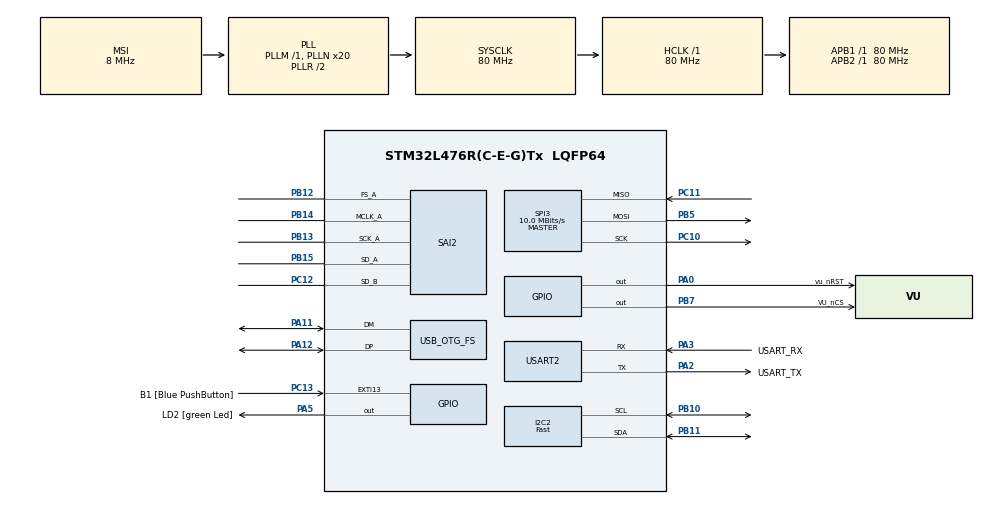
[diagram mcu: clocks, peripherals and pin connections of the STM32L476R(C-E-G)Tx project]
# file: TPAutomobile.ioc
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Dma.Request0=SAI2_A
Dma.Request1=SAI2_B
Dma.SAI2_A.0.Direction=DMA_MEMORY_TO_PERIPH
Dma.SAI2_A.0.Instance=DMA1_Channel6
Dma.SAI2_A.0.MemDataAlignment=DMA_MDATAALIGN_HALFWORD
Dma.SAI2_A.0.MemInc=DMA_MINC_ENABLE
Dma.SAI2_A.0.Mode=DMA_CIRCULAR
Dma.SAI2_A.0.PeriphDataAlignment=DMA_PDATAALIGN_HALFWORD
Dma.SAI2_A.0.PeriphInc=DMA_PINC_DISABLE
Dma.SAI2_A.0.Priority=DMA_PRIORITY_LOW
Dma.SAI2_B.1.Direction=DMA_PERIPH_TO_MEMORY
Dma.SAI2_B.1.Instance=DMA1_Channel7
Dma.SAI2_B.1.MemDataAlignment=DMA_MDATAALIGN_WORD
Dma.SAI2_B.1.MemInc=DMA_MINC_ENABLE
Dma.SAI2_B.1.Mode=DMA_CIRCULAR
Dma.SAI2_B.1.PeriphDataAlignment=DMA_PDATAALIGN_WORD
Dma.SAI2_B.1.PeriphInc=DMA_PINC_DISABLE
Dma.SAI2_B.1.Priority=DMA_PRIORITY_LOW
FREERTOS.Tasks01=defaultTask,0,128,StartDefaultTask,Default,NULL,Dynamic,NULL,NULL
FREERTOS.configTOTAL_HEAP_SIZE=20000
FREERTOS.configUSE_NEWLIB_REENTRANT=1
I2C2.I2C_Speed_Mode=I2C_Fast
I2C2.Timing=0x00F12981
Mcu.Family=STM32L4
Mcu.Name=STM32L476R(C-E-G)Tx
Mcu.Package=LQFP64
NVIC.DMA1_Channel6_IRQn=true\:5\:0\:false\:false\:true\:true\:false\:true\:true
NVIC.DMA1_Channel7_IRQn=true\:5\:0\:false\:false\:true\:true\:false\:true\:true
NVIC.PriorityGroup=NVIC_PRIORITYGROUP_4
NVIC.SAI2_IRQn=true\:5\:0\:false\:false\:true\:true\:true\:true\:true
NVIC.TIM6_DAC_IRQn=true\:15\:0\:false\:false\:true\:false\:false\:true\:true
NVIC.TimeBase=TIM6_DAC_IRQn
NVIC.TimeBaseIP=TIM6
PA0.GPIO_Label=vu_nRST
PA0.PinState=GPIO_PIN_SET
PA0.Signal=GPIO_Output
PA11.Mode=Device_Only
PA11.Signal=USB_OTG_FS_DM
PA12.Mode=Device_Only
PA12.Signal=USB_OTG_FS_DP
PA13\ (JTMS-SWDIO).GPIO_Label=TMS
PA13\ (JTMS-SWDIO).Mode=Trace_Asynchronous_SW
PA13\ (JTMS-SWDIO).Signal=SYS_JTMS-SWDIO
PA14\ (JTCK-SWCLK).GPIO_Label=TCK
PA14\ (JTCK-SWCLK).Mode=Trace_Asynchronous_SW
PA14\ (JTCK-SWCLK).Signal=SYS_JTCK-SWCLK
PA2.GPIO_Label=USART_TX
PA2.GPIO_Mode=GPIO_MODE_AF_PP
PA2.GPIO_PuPd=GPIO_NOPULL
PA2.GPIO_Speed=GPIO_SPEED_FREQ_VERY_HIGH
PA2.Mode=Asynchronous
PA2.Signal=USART2_TX
PA3.GPIO_Label=USART_RX
PA3.GPIO_Mode=GPIO_MODE_AF_PP
PA3.GPIO_PuPd=GPIO_NOPULL
PA3.GPIO_Speed=GPIO_SPEED_FREQ_VERY_HIGH
PA3.Mode=Asynchronous
PA3.Signal=USART2_RX
PA5.GPIO_Label=LD2 [green Led]
PA5.GPIO_ModeDefaultOutputPP=GPIO_MODE_OUTPUT_PP
PA5.GPIO_PuPd=GPIO_NOPULL
PA5.GPIO_Speed=GPIO_SPEED_FREQ_LOW
PA5.Signal=GPIO_Output
PB10.Mode=I2C
PB10.Signal=I2C2_SCL
PB11.Mode=I2C
PB11.Signal=I2C2_SDA
PB12.Mode=SAI_A_MasterWithClock
PB12.Signal=SAI2_FS_A
PB13.Mode=SAI_A_MasterWithClock
PB13.Signal=SAI2_SCK_A
PB14.Mode=SAI_A_MasterWithClock
PB14.Signal=SAI2_MCLK_A
PB15.Mode=SAI_A_MasterWithClock
PB15.Signal=SAI2_SD_A
PB3\ (JTDO-TRACESWO).GPIO_Label=SWO
PB3\ (JTDO-TRACESWO).Mode=Trace_Asynchronous_SW
PB3\ (JTDO-TRACESWO).Signal=SYS_JTDO-SWO
PB5.Mode=Full_Duplex_Master
PB5.Signal=SPI3_MOSI
PB7.GPIO_Label=VU_nCS
PB7.PinState=GPIO_PIN_SET
PB7.Signal=GPIO_Output
PC10.Mode=Full_Duplex_Master
PC10.Signal=SPI3_SCK
PC11.Mode=Full_Duplex_Master
PC11.Signal=SPI3_MISO
PC12.Mode=SAI_B_SyncSlave
PC12.Signal=SAI2_SD_B
PC13.GPIO_Label=B1 [Blue PushButton]
PC13.GPIO_ModeDefaultEXTI=GPIO_MODE_IT_FALLING
PC13.GPIO_PuPd=GPIO_NOPULL
PC13.Signal=GPXTI13
PC14-OSC32_IN\ (PC14).Signal=RCC_OSC32_IN
PC15-OSC32_OUT\ (PC15).Signal=RCC_OSC32_OUT
PH0-OSC_IN\ (PH0).Signal=RCC_OSC_IN
PH1-OSC_OUT\ (PH1).Signal=RCC_OSC_OUT
ProjectManager.HeapSize=0x200
ProjectManager.StackSize=0x400
ProjectManager.TargetToolchain=STM32CubeIDE
RCC.ADCFreq_Value=48000000
RCC.AHBFreq_Value=80000000
RCC.APB1Freq_Value=80000000
RCC.APB1TimFreq_Value=80000000
RCC.APB2Freq_Value=80000000
RCC.APB2TimFreq_Value=80000000
RCC.CortexFreq_Value=80000000
RCC.HCLKFreq_Value=80000000
RCC.HSE_VALUE=8000000
RCC.HSI_VALUE=16000000
RCC.LSE_VALUE=32768
RCC.MSIClockRange=RCC_MSIRANGE_7
RCC.MSI_VALUE=8000000
RCC.PLLN=20
RCC.PLLQ=RCC_PLLQ_DIV4
RCC.PLLSAI1N=12
RCC.PLLSAI1P=RCC_PLLP_DIV17
RCC.PLLSAI2N=26
RCC.PLLSAI2P=RCC_PLLP_DIV17
RCC.PREFETCH_ENABLE=1
RCC.SAI2CLockSelection=RCC_SAI2CLKSOURCE_PLLSAI2
RCC.SYSCLKFreq_VALUE=80000000
RCC.SYSCLKSource=RCC_SYSCLKSOURCE_PLLCLK
RCC.USBFreq_Value=48000000
RCC.VCOOutputFreq_Value=160000000
SAI2.AudioFrequency-SAI_A_MasterWithClock=SAI_AUDIO_FREQUENCY_48K
SAI2.ErrorAudioFreq-SAI_A_MasterWithClock=-0.42 %
SAI2.InitProtocol-SAI_A_MasterWithClock=Enable
SAI2.InitProtocol-SAI_B_SyncSlave=Enable
SAI2.Instance-SAI_A_MasterWithClock=SAI$Index_Block_A
SAI2.Instance-SAI_B_SyncSlave=SAI$Index_Block_B
SAI2.MClockEnable-SAI_A_MasterWithClock=SAI_MASTERCLOCK_ENABLE
SAI2.RealAudioFreq-SAI_A_MasterWithClock=47.794 KHz
SAI2.SynchroExt=SAI_SYNCEXT_OUTBLOCKA_ENABLE
SAI2.VirtualMode-SAI_A_MasterWithClock=VM_MASTER
SAI2.VirtualMode-SAI_B_SyncSlave=VM_SLAVE
SAI2.VirtualProtocol-SAI_A_BASIC=VM_BASIC_PROTOCOL
SAI2.VirtualProtocol-SAI_B_BASIC=VM_BASIC_PROTOCOL
SPI3.BaudRatePrescaler=SPI_BAUDRATEPRESCALER_8
SPI3.CalculateBaudRate=10.0 MBits/s
SPI3.DataSize=SPI_DATASIZE_8BIT
SPI3.Direction=SPI_DIRECTION_2LINES
SPI3.Mode=SPI_MODE_MASTER
SPI3.VirtualType=VM_MASTER
USART2.VirtualMode-Asynchronous=VM_ASYNC
USB_OTG_FS.VirtualMode=Device_Only
VP_FREERTOS_VS_CMSIS_V1.Mode=CMSIS_V1
VP_SAI2_VP_$IpInstance_SAIA_SAI_BASIC.Mode=SAI_A_BASIC
VP_SAI2_VP_$IpInstance_SAIB_SAI_BASIC.Mode=SAI_B_BASIC
VP_SAI2_VP_$IpInstance_SYNCHRO_EXTERNAL.Mode=SynchroExternal
VP_SYS_VS_tim6.Mode=TIM6
board=NUCLEO-L476RG

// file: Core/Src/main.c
/* USER CODE BEGIN Header */
/**
 ******************************************************************************
 * @file           : main.c
 * @brief          : Main program body
 ******************************************************************************
 * @attention
 *
 * Copyright (c) 2025 STMicroelectronics.
 * All rights reserved.
 *
 * This software is licensed under terms that can be found in the LICENSE file
 * in the root directory of this software component.
 * If no LICENSE file comes with this software, it is provided AS-IS.
 *
 ******************************************************************************
 */
/* USER CODE END Header */
#include "main.h"
#include "cmsis_os.h"
#include "dma.h"
#include "i2c.h"
#include "sai.h"
#include "spi.h"
#include "usart.h"
#include "usb_otg.h"
#include "gpio.h"

/* USER CODE BEGIN Includes */
#include "stdio.h"
#include "stdlib.h"
#include <stdbool.h>
#include "../shell/user_function.h"
#include "sgtl5000.h"
#include "../MCP23S17_/mcp23s17.h"
#include "audio/audio.h"
#include "audio/RCFilter.h"

/* USER CODE END Includes */

/* USER CODE BEGIN PD */
/* MCP23S17 GPIO EXPANDER */
#define OPCODE 0x40
#define IODIRA_Reg 0x00
#define IODIRB_Reg 0x01
#define MODE_OUTPUT_MCP 0x00
#define GPIOA_VALUE 0x12
#define GPIOB_VALUE 0x13

/* USER CODE END PD */

/* USER CODE BEGIN PV */
h_shell_t h_shell;
mcp23s17_handle_t mcp;
h_sgtl5000_t h_sgtl5000;
h_RC_filter_t  h_RC_filter;
// FreeRTOS
SemaphoreHandle_t mutex;
SemaphoreHandle_t sai_tx_sem;
SemaphoreHandle_t sai_rx_sem;
/* USER CODE END PV */

void SystemClock_Config(void);
void PeriphCommonClock_Config(void);
void MX_FREERTOS_Init(void);

/* USER CODE BEGIN 0 */
int __io_putchar(int chr)
{
	HAL_UART_Transmit(&huart2, (uint8_t*)&chr, 1, HAL_MAX_DELAY);
	return chr;
}

/* ===== API =====*/
// BSP MCP23S17
void cs_low(void *d)   { HAL_GPIO_WritePin(VU_nCS_GPIO_Port, VU_nCS_Pin, RESET); }
void cs_high(void *d)  { HAL_GPIO_WritePin(VU_nCS_GPIO_Port, VU_nCS_Pin, SET); }
void delay_ms(uint32_t ms, void *d) { vTaskDelay(pdMS_TO_TICKS(ms)); }

void spi_send(const uint8_t *tx, uint8_t *rx, uint16_t len, void *d)
{
	HAL_SPI_Transmit(&hspi3, tx, len, 100);
}
void spi_recv(const uint8_t *tx, uint8_t *rx, uint16_t len, void *d)
{
	HAL_SPI_TransmitReceive(&hspi3, tx, rx, len, 100);
}

// BSP shell

uint8_t drv_uart_receive(char * pData, uint16_t size)
{
	HAL_UART_Receive(&huart2, (uint8_t*)pData, size, HAL_MAX_DELAY);
	return 0;
}

uint8_t drv_uart_transmit(char * pData, uint16_t size)
{
	HAL_UART_Transmit(&huart2, (uint8_t*)pData, size, HAL_MAX_DELAY);
	return 0;
}

h_shell_t h_shell =
{
		.drv_shell = {
				.drv_shell_transmit = drv_uart_transmit,
				.drv_shell_receive = drv_uart_receive
		}
};

void task_led(void * unused)
{
	for (;;)
	{
		HAL_GPIO_TogglePin(LD2_GPIO_Port, LD2_Pin);
		vTaskDelay(250);
	}
}

void vApplicationStackOverflowHook(TaskHandle_t xTask, char *pcTaskName)
{
	Error_Handler();
}

/* USER CODE END 0 */

int main(void)
{

  /* MCU Configuration--------------------------------------------------------*/

  /* Reset of all peripherals, Initializes the Flash interface and the Systick. */
  HAL_Init();

  /* Configure the system clock */
  SystemClock_Config();

  /* Configure the peripherals common clocks */
  PeriphCommonClock_Config();

  /* Initialize all configured peripherals */
  MX_GPIO_Init();
  MX_DMA_Init();
  MX_I2C2_Init();
  MX_SAI2_Init();
  MX_SPI3_Init();
  MX_USART2_UART_Init();
  MX_USB_OTG_FS_PCD_Init();
  /* USER CODE BEGIN 2 */
	__HAL_SAI_ENABLE(&hsai_BlockA2);
	__HAL_SAI_ENABLE(&hsai_BlockB2);

	/*handlers */

	// --------- MCP23s17
	mcp = (mcp23s17_handle_t){
		.addr_pins    = 0b000,
				.user_data    = NULL,
				.cs_low       = cs_low,
				.cs_high      = cs_high,
				.spi_receive = spi_recv,
				.spi_transmit = spi_send,
				.delay_ms     = delay_ms,
				.mutex        = mutex
	};
	mcp23s17_init(&mcp);

	// --------- SGTL5000 ----------
	h_sgtl5000.hi2c = &hi2c2;
	h_sgtl5000.dev_address = SGTL5000_DEVADDRESS;
	sgtl5000_init(&h_sgtl5000);

	//-------- SAI ------
	sai_tx_sem=xSemaphoreCreateBinary();
	sai_rx_sem=xSemaphoreCreateBinary();

	if (xTaskCreate(task_shell, "Shell", 512, NULL, 2, NULL) != pdPASS)
	{
		printf("Error creating task Shell\r\n");
		Error_Handler();
	}

	if (xTaskCreate(task_led, "LED", 128, NULL, 1, NULL) != pdPASS)
	{
		printf("Error creating task LED\r\n");
		Error_Handler();
	}

	if (xTaskCreate(audio_task, "AUDIO", 1024, NULL, 3, NULL) != pdPASS)
	{
		printf("Error creating task LED\r\n");
		Error_Handler();
	}

	if (xTaskCreate(audio_process_task, "AUDIO In", 1024, NULL, 4, NULL) != pdPASS)
		{
			printf("Error creating task LED\r\n");
			Error_Handler();
		}

	vTaskStartScheduler();
  /* USER CODE END 2 */

  /* Call init function for freertos objects (in cmsis_os2.c) */
  MX_FREERTOS_Init();

  /* Start scheduler */
  osKernelStart();

  /* We should never get here as control is now taken by the scheduler */

  /* Infinite loop */
	while (1)
	{

    /* USER CODE BEGIN 3 */
		//HAL_GPIO_TogglePin(LD2_GPIO_Port, LD2_Pin);
		//HAL_Delay(500);
		//printf("toogle %d \n\r",x++);

	}
  /* USER CODE END 3 */
}

void SystemClock_Config(void)
{
  RCC_OscInitTypeDef RCC_OscInitStruct = {0};
  RCC_ClkInitTypeDef RCC_ClkInitStruct = {0};

  /** Configure the main internal regulator output voltage
  */
  if (HAL_PWREx_ControlVoltageScaling(PWR_REGULATOR_VOLTAGE_SCALE1) != HAL_OK)
  {
    Error_Handler();
  }

  /** Initializes the RCC Oscillators according to the specified parameters
  * in the RCC_OscInitTypeDef structure.
  */
  RCC_OscInitStruct.OscillatorType = RCC_OSCILLATORTYPE_MSI;
  RCC_OscInitStruct.MSIState = RCC_MSI_ON;
  RCC_OscInitStruct.MSICalibrationValue = 0;
  RCC_OscInitStruct.MSIClockRange = RCC_MSIRANGE_7;
  RCC_OscInitStruct.PLL.PLLState = RCC_PLL_ON;
  RCC_OscInitStruct.PLL.PLLSource = RCC_PLLSOURCE_MSI;
  RCC_OscInitStruct.PLL.PLLM = 1;
  RCC_OscInitStruct.PLL.PLLN = 20;
  RCC_OscInitStruct.PLL.PLLP = RCC_PLLP_DIV7;
  RCC_OscInitStruct.PLL.PLLQ = RCC_PLLQ_DIV4;
  RCC_OscInitStruct.PLL.PLLR = RCC_PLLR_DIV2;
  if (HAL_RCC_OscConfig(&RCC_OscInitStruct) != HAL_OK)
  {
    Error_Handler();
  }

  /** Initializes the CPU, AHB and APB buses clocks
  */
  RCC_ClkInitStruct.ClockType = RCC_CLOCKTYPE_HCLK|RCC_CLOCKTYPE_SYSCLK
                              |RCC_CLOCKTYPE_PCLK1|RCC_CLOCKTYPE_PCLK2;
  RCC_ClkInitStruct.SYSCLKSource = RCC_SYSCLKSOURCE_PLLCLK;
  RCC_ClkInitStruct.AHBCLKDivider = RCC_SYSCLK_DIV1;
  RCC_ClkInitStruct.APB1CLKDivider = RCC_HCLK_DIV1;
  RCC_ClkInitStruct.APB2CLKDivider = RCC_HCLK_DIV1;

  if (HAL_RCC_ClockConfig(&RCC_ClkInitStruct, FLASH_LATENCY_4) != HAL_OK)
  {
    Error_Handler();
  }
}

void PeriphCommonClock_Config(void)
{
  RCC_PeriphCLKInitTypeDef PeriphClkInit = {0};

  /** Initializes the peripherals clock
  */
  PeriphClkInit.PeriphClockSelection = RCC_PERIPHCLK_SAI2;
  PeriphClkInit.Sai2ClockSelection = RCC_SAI2CLKSOURCE_PLLSAI2;
  PeriphClkInit.PLLSAI2.PLLSAI2Source = RCC_PLLSOURCE_MSI;
  PeriphClkInit.PLLSAI2.PLLSAI2M = 1;
  PeriphClkInit.PLLSAI2.PLLSAI2N = 26;
  PeriphClkInit.PLLSAI2.PLLSAI2P = RCC_PLLP_DIV17;
  PeriphClkInit.PLLSAI2.PLLSAI2R = RCC_PLLR_DIV2;
  PeriphClkInit.PLLSAI2.PLLSAI2ClockOut = RCC_PLLSAI2_SAI2CLK;
  if (HAL_RCCEx_PeriphCLKConfig(&PeriphClkInit) != HAL_OK)
  {
    Error_Handler();
  }
}

void HAL_TIM_PeriodElapsedCallback(TIM_HandleTypeDef *htim)
{
  if (htim->Instance == TIM6)
  {
    HAL_IncTick();
  }
}

void Error_Handler(void)
{
	__disable_irq();
	while (1)
	{
	}
}
